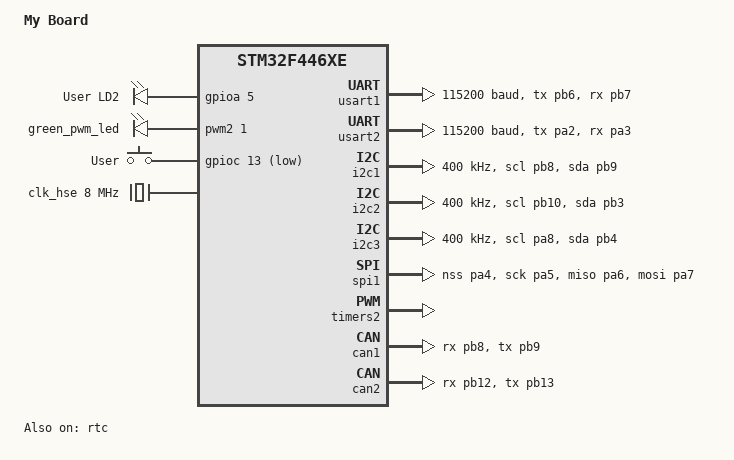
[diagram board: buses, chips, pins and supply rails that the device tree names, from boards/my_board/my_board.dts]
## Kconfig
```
# choice 
#     prompt "Led blink speed"
#     default BLINK_SLEEP_TIME_1000MS

# config BLINK_SLEEP_TIME_250MS
#     bool "Fast"

# config BLINK_SLEEP_TIME_1000MS
#     bool "Normal"

# config BLINK_SLEEP_TIME_2000MS
#     bool "Slow"

# endchoice


# config BLINK_SLEEP_TIME_MS
#   int 
#   default 250 if BLINK_SLEEP_TIME_250MS
#   default 1000 if BLINK_SLEEP_TIME_1000MS
#   default 2000 if BLINK_SLEEP_TIME_2000MS
#   default 0


# source "Kconfig.zephyr"

# menuconfig LED_SUBSYSTEM
#   bool "LED Subsystem"
#   default y 


# if LED_SUBSYSTEM

# choice 
#     prompt "LED Blink"
#     default 0

# config BLINK_SLEEP_TIME_250MS
#   bool "250 ms"

# config BLINK_SLEEP_TIME_500MS
#   bool "500 ms"

# config BLINK_SLEEP_TIME_1000MS
#   bool "1000 ms"

# config BLINK_SLEEP_TIME_2000MS
#   bool "2000 ms"
# endchoice 

# config BLINK_SLEEP_TIME_MS
#   int 
#   default 250 if BLINK_SLEEP_TIME_250MS
#   default 500 if BLINK_SLEEP_TIME_500MS
#   default 1000 if BLINK_SLEEP_TIME_1000MS
#   default 2000 if BLINK_SLEEP_TIME_2000MS



# menuconfig ADVANCED_LED_SETTINGS 
#   bool "Advanced led settings"
#   default y

# menu "EXPERT SETTINGS"
#   visible if ADVANCED_LED_SETTINGS 
  
#   config LED_BRIGHTNESS 
#     int 
#     range 0 100
#     default 100

#   config LED_FADE_DURATION_MS
#     int 
#     range 0 5000
#     default 5000

# endmenu 

# endif # LED_SUBSYSTEM 

# source "Kconfig.zephyr"


config APP_HEARTBEAT_PERIOD_MS
  int "Heartbeat period (ms)"
  range 100 2000
  default 500

source "Kconfig.zephyr"
```

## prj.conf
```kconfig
CONFIG_GPIO=y
CONFIG_LOG=y

# CONFIG_BLINK_SLEEP_TIME_2000MS=y

CONFIG_APP_HEARTBEAT_PERIOD_MS=500
```

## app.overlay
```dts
/ {
    aliases {
        app-led = &green_led
    }
}
```

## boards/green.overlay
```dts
/ {
    aliases{
        warning-led2 = &green_led;
    };
};
```

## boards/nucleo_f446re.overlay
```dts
#include <zephyr/dt-bindings/gpio/gpio.h>

/{
    leds {
        compatible = "gpio-leds";

        green_led: led_0 {
            gpios = <&gpioa 5 GPIO_ACTIVE_HIGH>;
            label = "User LED LD2";
        };
    };

    aliases {
        led0 = &green_led;
    };
};
```

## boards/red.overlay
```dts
/ {
    aliases {
        warning-led = &green_led;
    };
}; 
```

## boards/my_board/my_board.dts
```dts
/*
 * Copyright (c) 2018 Philémon Jaermann
 *
 * SPDX-License-Identifier: Apache-2.0
 */

/dts-v1/;
#include <st/f4/stm32f446Xe.dtsi>
#include <st/f4/stm32f446r(c-e)tx-pinctrl.dtsi>
#include "arduino_r3_connector.dtsi"
#include "st_morpho_connector.dtsi"
#include <zephyr/dt-bindings/input/input-event-codes.h>

/ {
	model = "My Board";
	compatible = "iomico.my_board";

    aliases {
        led0 = &green_led_2;
    };

	chosen {
		zephyr,console = &usart2;
		zephyr,shell-uart = &usart2;
		zephyr,sram = &sram0;
		zephyr,flash = &flash0;
		zephyr,canbus = &can2;
	};

	leds: leds {
		compatible = "gpio-leds";

		green_led_2: led_2 {
			gpios = <&gpioa 5 GPIO_ACTIVE_HIGH>;
			label = "User LD2";
		};
	};

	pwmleds {
		compatible = "pwm-leds";

		green_pwm_led: green_pwm_led {
			pwms = <&pwm2 1 PWM_MSEC(20) PWM_POLARITY_NORMAL>;
		};
	};

	gpio_keys {
		compatible = "gpio-keys";

		user_button: button {
			label = "User";
			gpios = <&gpioc 13 GPIO_ACTIVE_LOW>;
			zephyr,code = <INPUT_KEY_0>;
		};
	};

	aliases {
		led0 = &green_led_2;
		pwm-led0 = &green_pwm_led;
		sw0 = &user_button;
	};
};

&clk_lsi {
	status = "okay";
};

&clk_hse {
	hse-bypass;
	clock-frequency = <DT_FREQ_M(8)>; /* STLink 8MHz clock */
	status = "okay";
};

&pll {
	div-m = <8>;
	mul-n = <384>;
	div-p = <4>;
	div-q = <8>;
	clocks = <&clk_hse>;
	status = "okay";
};

&rcc {
	clocks = <&pll>;
	clock-frequency = <DT_FREQ_M(96)>;
	ahb-prescaler = <1>;
	apb1-prescaler = <2>;
	apb2-prescaler = <1>;
};

&usart1 {
	pinctrl-0 = <&usart1_tx_pb6 &usart1_rx_pb7>;
	pinctrl-names = "default";
	current-speed = <115200>;
	status = "okay";
};

&usart2 {
	pinctrl-0 = <&usart2_tx_pa2 &usart2_rx_pa3>;
	pinctrl-names = "default";
	current-speed = <115200>;
	status = "okay";
};

&i2c1 {
	pinctrl-0 = <&i2c1_scl_pb8 &i2c1_sda_pb9>;
	pinctrl-names = "default";
	status = "okay";
	clock-frequency = <I2C_BITRATE_FAST>;
};

&i2c2 {
	pinctrl-0 = <&i2c2_scl_pb10 &i2c2_sda_pb3>;
	pinctrl-names = "default";
	status = "okay";
	clock-frequency = <I2C_BITRATE_FAST>;
};

&i2c3 {
	pinctrl-0 = <&i2c3_scl_pa8 &i2c3_sda_pb4>;
	pinctrl-names = "default";
	status = "okay";
	clock-frequency = <I2C_BITRATE_FAST>;
};

&spi1 {
	pinctrl-0 = <&spi1_nss_pa4 &spi1_sck_pa5
		     &spi1_miso_pa6 &spi1_mosi_pa7>;
	pinctrl-names = "default";
	status = "okay";
};

&timers2 {
	status = "okay";

	pwm2: pwm {
		status = "okay";
		pinctrl-0 = <&tim2_ch1_pa5>;
		pinctrl-names = "default";
	};
};

&rtc {
	clocks = <&rcc STM32_CLOCK(APB1, 28)>,
		 <&rcc STM32_SRC_LSI RTC_SEL(2)>;
	status = "okay";
};

&backup_sram {
	status = "okay";
};

&can1 {
	/* CAUTION: PB8 and PB9 may conflict with same pins of I2C1 */
	pinctrl-0 = <&can1_rx_pb8 &can1_tx_pb9>;
	pinctrl-names = "default";
	status = "okay";
};

&can2 {
	pinctrl-0 = <&can2_rx_pb12 &can2_tx_pb13>;
	pinctrl-names = "default";
	status = "okay";
};

&flash0 {
	partitions {
		compatible = "fixed-partitions";
		#address-cells = <1>;
		#size-cells = <1>;

		boot_partition: partition@0 {
			label = "mcuboot";
			reg = <0x00000000 DT_SIZE_K(64)>;
			read-only;
		};

		/*
		 * The flash starting at 0x00010000 and ending at
		 * 0x0001ffff (sectors 16-31) is reserved for use
		 * by the application.
		 */
		storage_partition: partition@10000 {
			label = "storage";
			reg = <0x00010000 DT_SIZE_K(64)>;
		};

		slot0_partition: partition@20000 {
			label = "image-0";
			reg = <0x00020000 DT_SIZE_K(128)>;
		};

		slot1_partition: partition@40000 {
			label = "image-1";
			reg = <0x00040000 DT_SIZE_K(128)>;
		};

		scratch_partition: partition@60000 {
			label = "image-scratch";
			reg = <0x00060000 DT_SIZE_K(128)>;
		};
	};
};
```

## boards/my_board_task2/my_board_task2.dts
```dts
/dts-v1/;
#include <st/f4/stm32f446Xe.dtsi>
#include <st/f4/stm32f446r(c-e)tx-pinctrl.dtsi>
#include "arduino_r3_connector.dtsi"
#include "st_morpho_connector.dtsi"
#include <zephyr/dt-bindings/input/input-event-codes.h>

/{
    model = "From Sratch Custom Board";
	compatible = "iomico.my_board_task2";

	chosen {
		zephyr,console = &usart2;
		zephyr,shell-uart = &usart2;
		zephyr,sram = &sram0;
		zephyr,flash = &flash0;
		zephyr,canbus = &can2;
	};
};

&clk_hse {
    hse-bypass;
    clock-frequency = <DT_FREQ_M(8)>;
    status = "okay";
};

&pll {
    div-m = <8>;
    mul-n = <384>;
    div-p = <4>;
    div-q = <8>;
    clocks = <&clk_hse>;
    status = "okay";
};

&rcc {
    clocks = <&pll>;
    clock-frequency = <DT_FREQ_M(96)>;
    ahb-prescaler = <1>;
    apb1-prescaler = <2>;
    apb2-prescaler = <1>;
};

&usart2 {
    pinctrl-0 = <&usart2_tx_pa2 &usart2_rx_pa3>;
    pinctrl-names = "default";
    current-speed = <115200>;
    status = "okay";
};
```

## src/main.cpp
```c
#include <zephyr/drivers/gpio.h>
#include <zephyr/kernel.h>
#include <zephyr/logging/log.h>


/* The devicetree node identifier for the "led0" alias. */
#define LED_NODE DT_ALIAS(app_led)

static const struct gpio_dt_spec led = GPIO_DT_SPEC_GET(LED_NODE, gpios);

LOG_MODULE_REGISTER(main, LOG_LEVEL_INF);

int main(void)
{
    bool led_state = true;

    if (!gpio_is_ready_dt(&led)) return 0;

    if (gpio_pin_configure_dt(&led, GPIO_OUTPUT_ACTIVE) < 0) return 0;

    while (1) {
        if (gpio_pin_toggle_dt(&led) < 0) return 0;

        led_state = !led_state;
        LOG_INF("LED state: %s", led_state ? "ON" : "OFF");
        //k_msleep(CONFIG_BLINK_SLEEP_TIME_MS);
        k_msleep(CONFIG_APP_HEARTBEAT_PERIOD_MS);
    }
    return 0;
}
```
